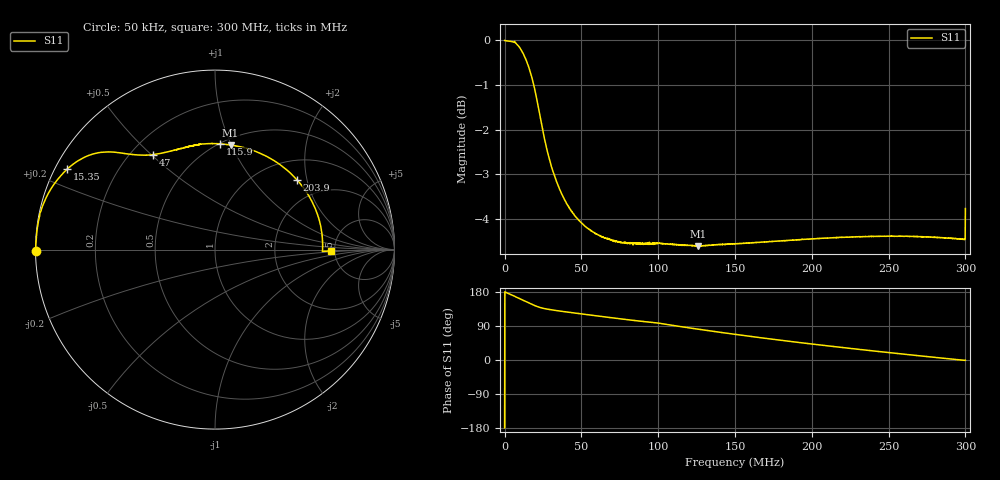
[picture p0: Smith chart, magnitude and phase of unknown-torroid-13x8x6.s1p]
# HZ S RI R 50
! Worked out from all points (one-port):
!   2020 points, 50 kHz to 300 MHz, reference 50 ohm
!   lowest |S11| = -4.6 dB at 125.7 MHz (marker M1), VSWR 3.86, Z = 27.9 + j49.6 ohm
!   |S11| at or under -10 dB: nowhere
!   S11 on the Smith chart (normalised r, x): 50 kHz: 0.00, -0.01; 15.35 MHz: 0.03, +0.25; 47 MHz: 0.29, +0.51; 115.9 MHz: 0.50, +0.91; 203.9 MHz: 1.43, +1.74; 300 MHz: 4.68, -0.11
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50000  -0.9991 -0.0104
4358300  -0.9876 0.135
7775300  -0.9602 0.2433
1.14894e7  -0.9042 0.3536
1.535206e7  -0.8228 0.4491
1.802616e7  -0.7544 0.5001
2.055176e7  -0.6847 0.5313
2.292876e7  -0.6212 0.5433
2.619726e7  -0.5513 0.5416
3.095123e7  -0.4821 0.5325
3.763663e7  -0.4154 0.5266
4.699619e7  -0.3469 0.5291
5.992129e7  -0.2708 0.5429
7.507482e7  -0.1918 0.5632
9.958778e7  -0.0779 0.5868
1.126615e8  0.00651 0.5902
1.159299e8  0.0273 0.5893
1.257351e8  0.0871 0.5817
1.500996e8  0.2248 0.5476
1.682244e8  0.315 0.5042
1.875378e8  0.3976 0.4458
2.038797e8  0.4568 0.3888
2.251245e8  0.5183 0.3065
2.435463e8  0.5576 0.2303
2.625626e8  0.5847 0.149
2.805388e8  0.5978 0.0708
2.983664e8  0.599 -0.00437
3.000006e8  0.648 -0.00691
